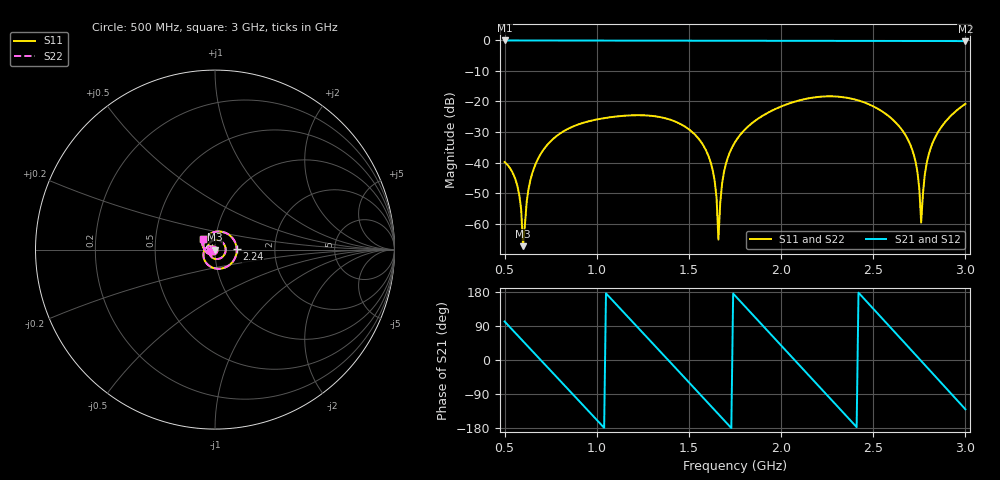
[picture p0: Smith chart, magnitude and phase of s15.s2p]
!freq-unit  param-type  data-format  keyword  impedance-ohms
# GHZ  S  RI  R  50
!Freq  ReS11  ImS11  ReS21  ImS21  ReS12  ImS12  ReS22  ImS22
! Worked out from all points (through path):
!   251 points, 500 MHz to 3 GHz, reference 50 ohm
!   highest |S21| = -0.08 dB at 500 MHz (marker M1); lowest = -0.3 dB at 3 GHz (marker M2)
!   group delay of S21, straight-line fit = 1.46 ns
!   lowest |S11| = -67.2 dB at 600 MHz (marker M3), VSWR 1.00, Z = 50 + j0.0151 ohm
!   |S11| at or under -10 dB: start of sweep to end of sweep
!   |S22| runs from -67.2 to -18.3 dB; largest |S21 - S12| = 0
!   S11 on the Smith chart (normalised r, x): 500 MHz: 0.98, -0.00; 2.24 GHz: 1.28, +0.01; 3 GHz: 0.86, +0.10
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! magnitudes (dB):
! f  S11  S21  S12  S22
! 500 MHz  -39.8  -0.1  -0.1  -39.8
! 570 MHz  -47.7  -0.1  -0.1  -47.7
! 590 MHz  -55.4  -0.1  -0.1  -55.4
! 600 MHz  -67.2  -0.1  -0.1  -67.2
! 630 MHz  -48.5  -0.1  -0.1  -48.5
! 680 MHz  -38.9  -0.1  -0.1  -38.9
! 920 MHz  -27.1  -0.1  -0.1  -27.1
! 1.34 GHz  -25.1  -0.2  -0.2  -25.1
! 1.59 GHz  -35.6  -0.2  -0.2  -35.6
! 1.64 GHz  -46.0  -0.2  -0.2  -46.0
! 1.66 GHz  -65.1  -0.2  -0.2  -65.1
! 1.69 GHz  -43.1  -0.2  -0.2  -43.1
! 1.75 GHz  -33.3  -0.2  -0.2  -33.3
! 2.17 GHz  -18.8  -0.3  -0.3  -18.8
! 2.24 GHz  -18.3  -0.3  -0.3  -18.3
! 2.59 GHz  -25.1  -0.2  -0.2  -25.1
! 2.72 GHz  -37.4  -0.2  -0.2  -37.4
! 2.75 GHz  -48.5  -0.2  -0.2  -48.5
! 2.76 GHz  -59.5  -0.2  -0.2  -59.5
! 2.78 GHz  -43.7  -0.2  -0.2  -43.7
! 2.82 GHz  -33.9  -0.2  -0.2  -33.9
! 3 GHz  -20.8  -0.3  -0.3  -20.8
